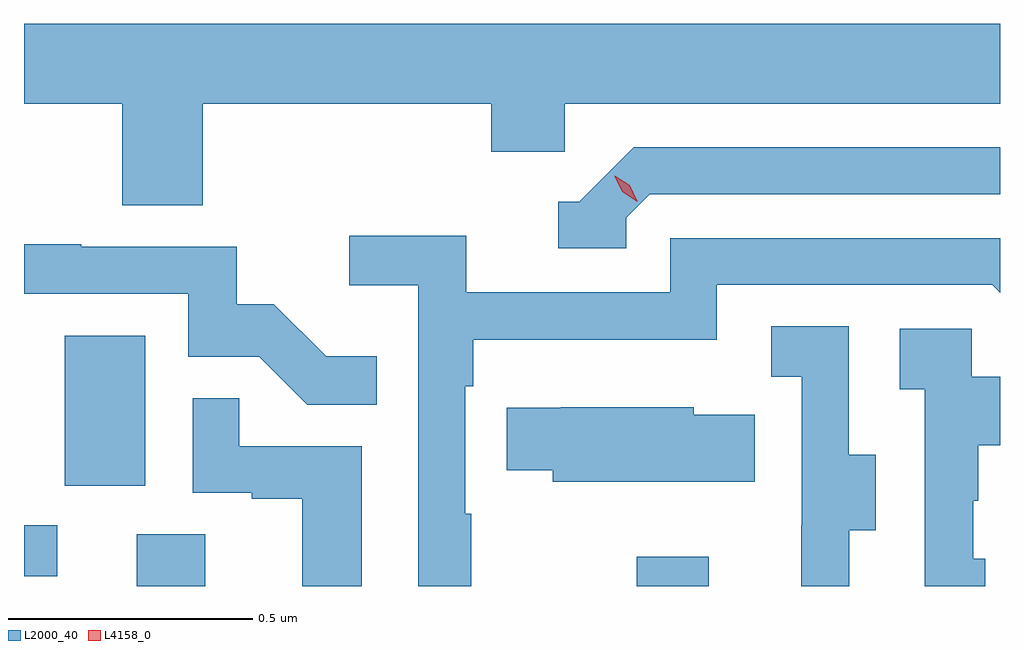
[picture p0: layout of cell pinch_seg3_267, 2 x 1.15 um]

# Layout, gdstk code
import gdstk
lib = gdstk.Library(unit=1e-6, precision=1e-09)
def R(c, l, rs):  # rectangles x0, y0, x1, y1
    for r in rs: c.add(gdstk.rectangle(r[:2], r[2:], *l))
def P(c, l, *ps):  # polygons
    for p in ps: c.add(gdstk.Polygon(p, *l))
L2000_40 = (2000, 40)
L4158_0 = (4158, 0)

pinch_seg3_267 = lib.new_cell('pinch_seg3_267')
R(pinch_seg3_267, L2000_40, [(945.353,723.904,945.493,724.01), (946.378,723.904,946.525,723.964), (945.122,723.924,945.19,724.029), (945.206,724.11,945.37,724.417)])
P(pinch_seg3_267, L2000_40, [(945.488,724.892),(946.079,724.892),(946.079,724.794),(946.23,724.794),(946.23,724.892),(947.122,724.892),(947.122,725.056),(945.122,725.056),(945.122,724.892),(945.323,724.892),(945.323,724.684),(945.488,724.684)],
  [(946.356,724.659),(946.404,724.707),(947.122,724.707),(947.122,724.803),(946.371,724.803),(946.26,724.692),(946.217,724.692),(946.217,724.596),(946.356,724.596)],
  [(946.039,724.052),(946.026,724.052),(946.026,724.313),(946.043,724.313),(946.043,724.409),(946.542,724.409),(946.542,724.521),(947.106,724.521),(947.122,724.505),(947.122,724.617),(946.446,724.617),(946.446,724.506),(946.028,724.506),(946.028,724.622),(945.789,724.622),(945.789,724.52),(945.93,724.52),(945.93,723.904),(946.039,723.904)],
  [(945.845,724.375),(945.741,724.375),(945.634,724.482),(945.558,724.482),(945.558,724.599),(945.239,724.599),(945.239,724.604),(945.122,724.604),(945.122,724.503),(945.459,724.503),(945.459,724.374),(945.604,724.374),(945.702,724.276),(945.845,724.276)],
  [(946.813,724.018),(946.867,724.018),(946.867,724.173),(946.812,724.173),(946.812,724.436),(946.653,724.436),(946.653,724.333),(946.716,724.333),(946.716,724.029),(946.715,724.029),(946.715,723.904),(946.813,723.904)],
  [(947.092,723.96),(947.067,723.96),(947.067,724.079),(947.077,724.079),(947.077,724.193),(947.122,724.193),(947.122,724.333),(947.064,724.333),(947.064,724.431),(946.917,724.431),(946.917,724.307),(946.968,724.307),(946.968,723.904),(947.092,723.904)],
  [(945.814,724.191),(945.563,724.191),(945.563,724.289),(945.468,724.289),(945.468,724.095),(945.589,724.095),(945.589,724.083),(945.692,724.083),(945.692,723.904),(945.814,723.904)],
  [(946.619,724.255),(946.494,724.255),(946.494,724.27),(946.222,724.27),(946.222,724.269),(946.111,724.269),(946.111,724.141),(946.205,724.141),(946.205,724.118),(946.619,724.118)])
P(pinch_seg3_267, L4158_0, [(946.379,724.692),(946.348,724.712),(946.333,724.744),(946.333,724.745),(946.333,724.745),(946.363,724.725),(946.379,724.693),(946.379,724.692)])

lib.write_gds('pinch_seg3_267.gds')
